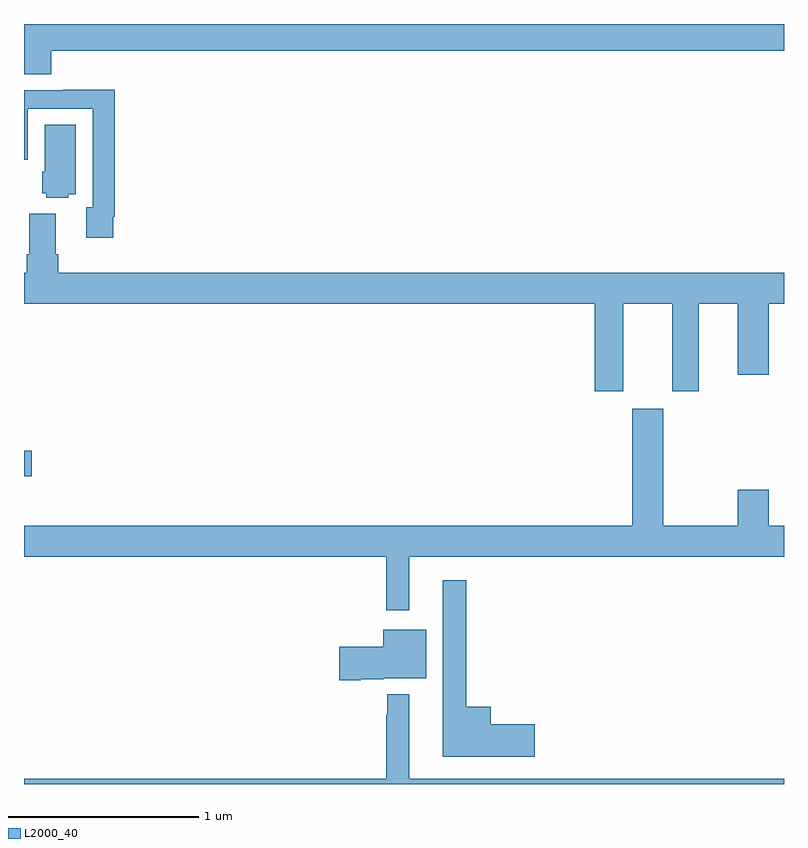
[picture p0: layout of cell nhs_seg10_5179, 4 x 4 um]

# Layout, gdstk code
import gdstk
lib = gdstk.Library(unit=1e-6, precision=1e-09)
def R(c, l, rs):  # rectangles x0, y0, x1, y1
    for r in rs: c.add(gdstk.rectangle(r[:2], r[2:], *l))
def P(c, l, *ps):  # polygons
    for p in ps: c.add(gdstk.Polygon(p, *l))
L2000_40 = (2000, 40)

nhs_seg10_5179 = lib.new_cell('nhs_seg10_5179')
R(nhs_seg10_5179, L2000_40, [(413,1254.119,413.041,1254.254)])
P(nhs_seg10_5179, L2000_40, [(413.144,1256.36),(417,1256.36),(417,1256.5),(413,1256.5),(413,1256.236),(413.144,1256.236)],
  [(413.47,1255.486),(413.477,1255.486),(413.477,1256.155),(413.207,1256.155),(413.207,1256.151),(413,1256.151),(413,1255.785),(413.019,1255.785),(413.019,1256.055),(413.361,1256.055),(413.361,1255.535),(413.327,1255.535),(413.327,1255.374),(413.47,1255.374)],
  [(413.232,1255.604),(413.272,1255.604),(413.272,1255.97),(413.108,1255.97),(413.108,1255.722),(413.096,1255.722),(413.096,1255.608),(413.118,1255.608),(413.118,1255.586),(413.232,1255.586)],
  [(416.155,1255.028),(416.411,1255.028),(416.411,1254.567),(416.551,1254.567),(416.551,1255.028),(416.756,1255.028),(416.756,1254.654),(416.92,1254.654),(416.92,1255.028),(417,1255.028),(417,1255.192),(413.18,1255.192),(413.18,1255.288),(413.167,1255.288),(413.167,1255.501),(413.027,1255.501),(413.027,1255.288),(413.015,1255.288),(413.015,1255.192),(413,1255.192),(413,1255.028),(416.003,1255.028),(416.003,1254.567),(416.155,1254.567)],
  [(415.027,1253.696),(417,1253.696),(417,1253.86),(416.92,1253.86),(416.92,1254.049),(416.756,1254.049),(416.756,1253.86),(416.365,1253.86),(416.365,1254.475),(416.201,1254.475),(416.201,1253.86),(413,1253.86),(413,1253.696),(414.906,1253.696),(414.906,1253.415),(415.027,1253.415)],
  [(415.687,1252.814),(415.456,1252.814),(415.456,1252.906),(415.327,1252.906),(415.327,1253.572),(415.205,1253.572),(415.205,1252.643),(415.687,1252.643)],
  [(414.772,1253.051),(414.894,1253.051),(414.894,1253.057),(415.117,1253.057),(415.117,1253.311),(414.89,1253.311),(414.89,1253.223),(414.66,1253.223),(414.66,1253.045),(414.772,1253.045)],
  [(417,1252.528),(415.027,1252.528),(415.027,1252.972),(414.913,1252.972),(414.913,1252.865),(414.906,1252.865),(414.906,1252.528),(413,1252.528),(413,1252.5),(417,1252.5)])

lib.write_gds('nhs_seg10_5179.gds')
